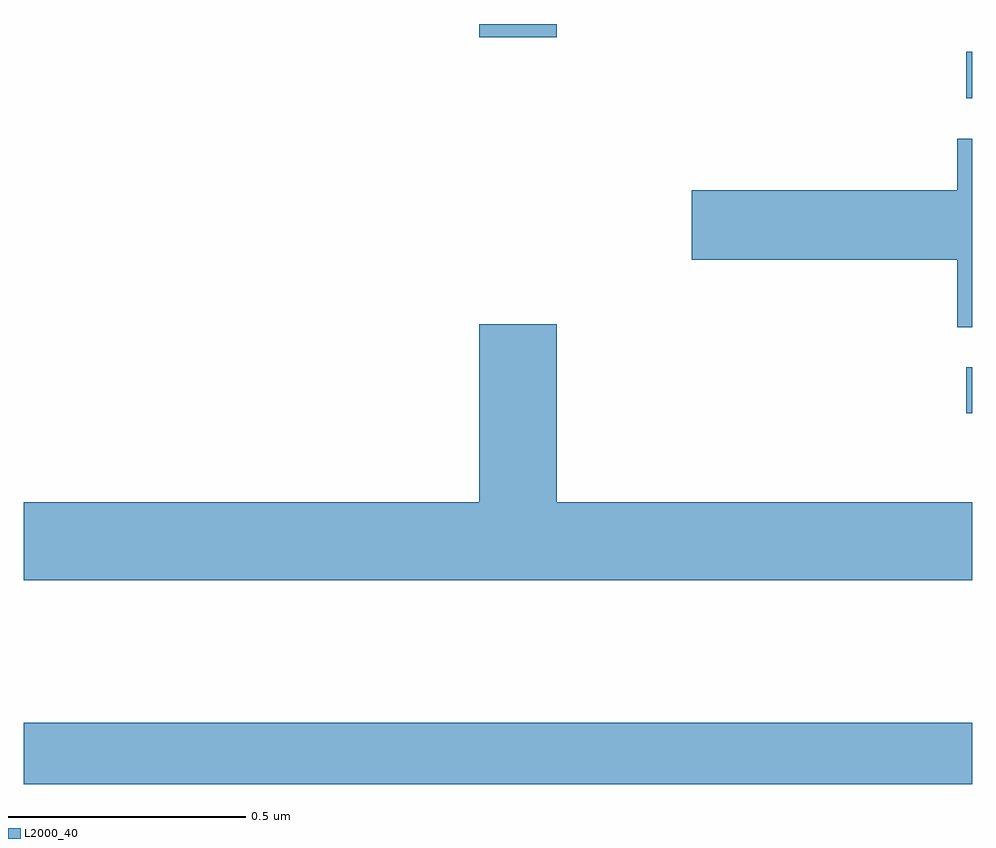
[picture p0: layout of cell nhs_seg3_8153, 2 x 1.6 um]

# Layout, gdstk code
import gdstk
lib = gdstk.Library(unit=1e-6, precision=1e-09)
def R(c, l, rs):  # rectangles x0, y0, x1, y1
    for r in rs: c.add(gdstk.rectangle(r[:2], r[2:], *l))
def P(c, l, *ps):  # polygons
    for p in ps: c.add(gdstk.Polygon(p, *l))
L2000_40 = (2000, 40)

nhs_seg3_8153 = lib.new_cell('nhs_seg3_8153')
R(nhs_seg3_8153, L2000_40, [(212,721.798,214,721.927), (213.987,722.58,214,722.676), (213.987,723.243,214,723.342), (212.96,723.372,213.124,723.4)])
P(nhs_seg3_8153, L2000_40, [(214,723.158),(213.968,723.158),(213.968,723.05),(213.408,723.05),(213.408,722.903),(213.968,722.903),(213.968,722.761),(214,722.761)],
  [(214,722.392),(213.124,722.392),(213.124,722.767),(212.96,722.767),(212.96,722.392),(212,722.392),(212,722.228),(214,722.228)])

lib.write_gds('nhs_seg3_8153.gds')
